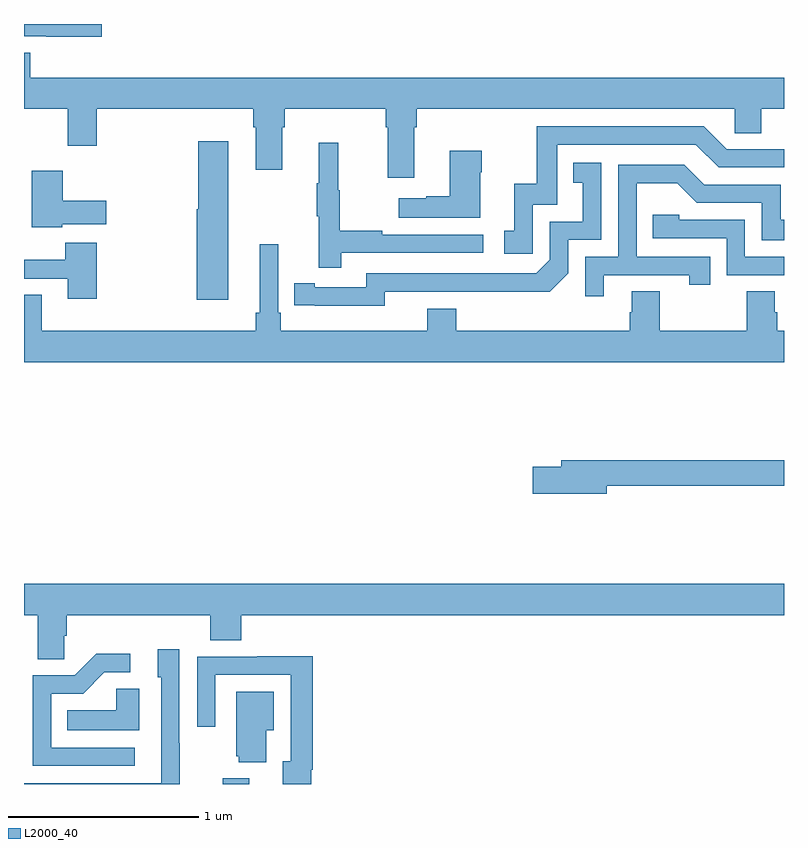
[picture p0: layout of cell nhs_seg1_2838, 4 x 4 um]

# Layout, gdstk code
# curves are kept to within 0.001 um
import gdstk
lib = gdstk.Library(unit=1e-6, precision=1e-09)
def R(c, l, rs):  # rectangles x0, y0, x1, y1
    for r in rs: c.add(gdstk.rectangle(r[:2], r[2:], *l))
def P(c, l, *ps):  # polygons
    for p in ps: c.add(gdstk.Polygon(p, *l))
L2000_40 = (2000, 40)

nhs_seg1_2838 = lib.new_cell('nhs_seg1_2838')
R(nhs_seg1_2838, L2000_40, [(266.045,528.199,266.185,528.229)])
P(nhs_seg1_2838, L2000_40, [(265.409,532.199),(265,532.199),(265,532.134),(265.117,532.134),(265.117,532.133),(265.409,532.133)],
  [(267.055,531.656),(267.068,531.656),(267.068,531.752),(268.74,531.752),(268.74,531.625),(268.879,531.625),(268.879,531.752),(269,531.752),(269,531.916),(265.034,531.916),(265.034,532.049),(265,532.049),(265,531.752),(265.229,531.752),(265.229,531.558),(265.382,531.558),(265.382,531.752),(266.207,531.752),(266.207,531.656),(266.219,531.656),(266.219,531.432),(266.359,531.432),(266.359,531.656),(266.372,531.656),(266.372,531.752),(266.903,531.752),(266.903,531.656),(266.915,531.656),(266.915,531.39),(267.055,531.39)],
  [(267.678,531.249),(267.807,531.249),(267.807,531.564),(268.536,531.564),(268.656,531.444),(269,531.444),(269,531.54),(268.698,531.54),(268.578,531.66),(267.699,531.66),(267.699,531.358),(267.581,531.358),(267.581,531.111),(267.528,531.111),(267.528,530.991),(267.678,530.991)],
  [(266.074,531.583),(265.916,531.583),(265.916,531.225),(265.91,531.225),(265.91,530.748),(266.074,530.748)],
  [(266.669,530.994),(267.418,530.994),(267.418,531.09),(266.885,531.09),(266.885,531.11),(266.662,531.11),(266.662,531.324),(266.654,531.324),(266.654,531.574),(266.552,531.574),(266.552,531.361),(266.541,531.361),(266.541,531.187),(266.552,531.187),(266.552,530.916),(266.669,530.916)],
  [(267.4,531.419),(267.408,531.419),(267.408,531.532),(267.242,531.532),(267.242,531.293),(267.116,531.293),(267.116,531.283),(266.973,531.283),(266.973,531.179),(267.4,531.179)],
  [(266.898,530.79),(267.766,530.789),(267.864,530.886),(267.864,531.063),(268.038,531.063),(268.038,531.469),(267.892,531.469),(267.892,531.363),(267.941,531.363),(267.941,531.159),(267.768,531.159),(267.768,530.958),(267.696,530.886),(266.802,530.886),(266.802,530.814),(266.53,530.814),(266.53,530.834),(266.422,530.834),(266.422,530.718),(266.898,530.717)],
  [(268.051,530.877),(268.502,530.877),(268.502,530.826),(268.613,530.826),(268.613,530.973),(268.224,530.973),(268.224,531.362),(268.438,531.362),(268.542,531.258),(268.884,531.258),(268.884,531.06),(269,531.06),(269,531.169),(268.983,531.169),(268.983,531.354),(268.579,531.354),(268.474,531.459),(268.128,531.459),(268.128,530.973),(267.954,530.973),(267.954,530.766),(268.051,530.766)],
  [(265.2,531.146),(265.432,531.146),(265.432,531.268),(265.204,531.268),(265.204,531.427),(265.04,531.427),(265.04,531.128),(265.2,531.128)],
  [(269,530.973),(268.794,530.973),(268.794,531.168),(268.449,531.168),(268.449,531.195),(268.309,531.195),(268.309,531.072),(268.698,531.072),(268.698,530.877),(269,530.877)],
  [(265.382,531.049),(265.217,531.049),(265.217,530.959),(265,530.959),(265,530.859),(265.229,530.859),(265.229,530.754),(265.382,530.754)],
  [(269,530.584),(268.964,530.584),(268.964,530.682),(268.951,530.682),(268.951,530.792),(268.804,530.792),(268.804,530.584),(268.347,530.584),(268.347,530.792),(268.199,530.792),(268.199,530.682),(268.187,530.682),(268.187,530.584),(267.275,530.584),(267.275,530.701),(267.122,530.701),(267.122,530.584),(266.351,530.584),(266.351,530.68),(266.337,530.68),(266.337,531.04),(266.24,531.04),(266.24,530.68),(266.221,530.68),(266.221,530.584),(265.093,530.584),(265.093,530.774),(265,530.774),(265,530.42),(269,530.42)],
  [(268.066,529.768),(269,529.768),(269,529.904),(267.827,529.904),(267.827,529.868),(267.678,529.868),(267.678,529.726),(268.066,529.726)],
  [(265.212,528.979),(265.226,528.979),(265.226,529.088),(265.979,529.088),(265.979,528.955),(266.144,528.955),(266.144,529.088),(269,529.088),(269,529.252),(265,529.252),(265,529.088),(265.073,529.088),(265.073,528.856),(265.212,528.856)],
  [(265.821,528.413),(265.818,528.413),(265.818,528.907),(265.703,528.907),(265.703,528.762),(265.722,528.762),(265.722,528.204),(265,528.204),(265,528.199),(265.821,528.199)],
  [(265.582,528.39),(265.143,528.39),(265.143,528.675),(265.312,528.675),(265.423,528.786),(265.558,528.786),(265.558,528.884),(265.379,528.884),(265.266,528.771),(265.047,528.771),(265.047,528.294),(265.582,528.294)],
  [(266.512,528.274),(266.519,528.274),(266.519,528.872),(266.227,528.872),(266.227,528.87),(265.911,528.87),(265.911,528.501),(266.007,528.501),(266.007,528.774),(266.403,528.774),(266.403,528.318),(266.363,528.318),(266.363,528.199),(266.512,528.199)],
  [(265.606,528.701),(265.485,528.701),(265.485,528.586),(265.228,528.586),(265.228,528.482),(265.606,528.482)],
  [(266.275,528.482),(266.314,528.482),(266.314,528.685),(266.117,528.685),(266.117,528.345),(266.129,528.345),(266.129,528.314),(266.275,528.314)])

lib.write_gds('nhs_seg1_2838.gds')
